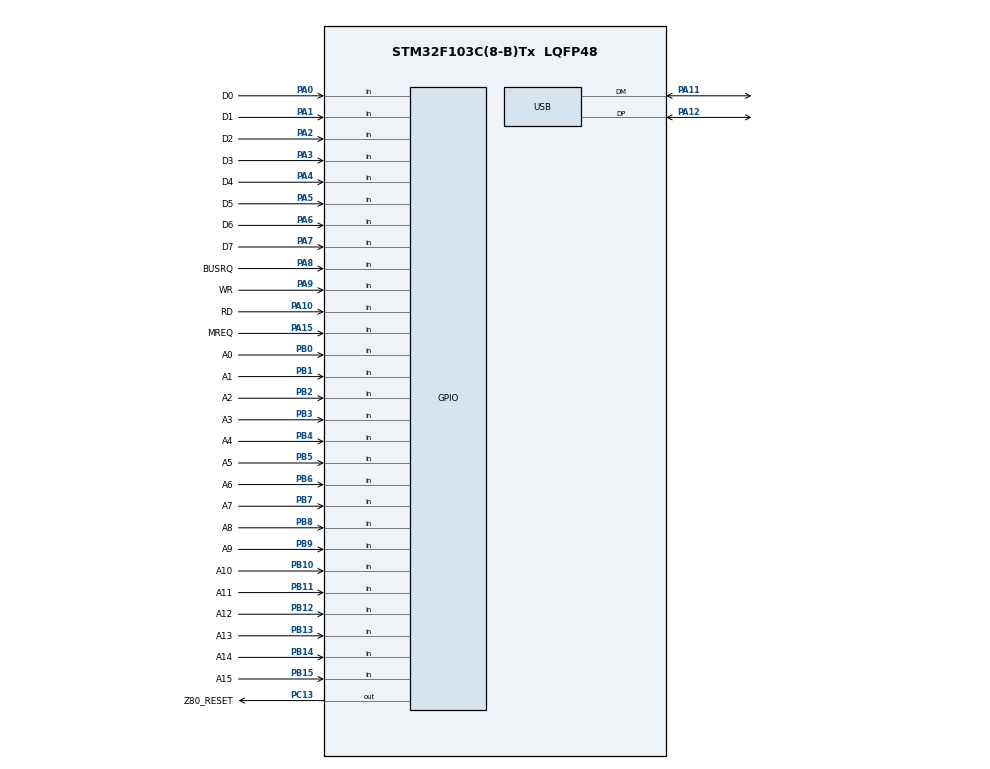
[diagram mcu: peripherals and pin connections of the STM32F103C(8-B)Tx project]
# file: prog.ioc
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Mcu.Family=STM32F1
Mcu.Name=STM32F103C(8-B)Tx
Mcu.Package=LQFP48
NVIC.PriorityGroup=NVIC_PRIORITYGROUP_4
NVIC.USB_LP_CAN1_RX0_IRQn=true\:0\:0\:false\:false\:true\:false\:true\:true
PA0-WKUP.GPIO_Label=D0
PA0-WKUP.Signal=GPIO_Input
PA1.GPIO_Label=D1
PA1.Signal=GPIO_Input
PA10.GPIO_Label=RD
PA10.Signal=GPIO_Input
PA11.Mode=Device
PA11.Signal=USB_DM
PA12.Mode=Device
PA12.Signal=USB_DP
PA13.Mode=Serial_Wire
PA13.Signal=SYS_JTMS-SWDIO
PA14.Mode=Serial_Wire
PA14.Signal=SYS_JTCK-SWCLK
PA15.GPIO_Label=MREQ
PA15.Signal=GPIO_Input
PA2.GPIO_Label=D2
PA2.Signal=GPIO_Input
PA3.GPIO_Label=D3
PA3.Signal=GPIO_Input
PA4.GPIO_Label=D4
PA4.Signal=GPIO_Input
PA5.GPIO_Label=D5
PA5.Signal=GPIO_Input
PA6.GPIO_Label=D6
PA6.Signal=GPIO_Input
PA7.GPIO_Label=D7
PA7.Signal=GPIO_Input
PA8.GPIO_Label=BUSRQ
PA8.Signal=GPIO_Input
PA9.GPIO_Label=WR
PA9.Signal=GPIO_Input
PB0.GPIO_Label=A0
PB0.Signal=GPIO_Input
PB1.GPIO_Label=A1
PB1.Signal=GPIO_Input
PB10.GPIO_Label=A10
PB10.Signal=GPIO_Input
PB11.GPIO_Label=A11
PB11.Signal=GPIO_Input
PB12.GPIO_Label=A12
PB12.Signal=GPIO_Input
PB13.GPIO_Label=A13
PB13.Signal=GPIO_Input
PB14.GPIO_Label=A14
PB14.Signal=GPIO_Input
PB15.GPIO_Label=A15
PB15.Signal=GPIO_Input
PB2.GPIO_Label=A2
PB2.Signal=GPIO_Input
PB3.GPIO_Label=A3
PB3.Signal=GPIO_Input
PB4.GPIO_Label=A4
PB4.Signal=GPIO_Input
PB5.GPIO_Label=A5
PB5.Signal=GPIO_Input
PB6.GPIO_Label=A6
PB6.Signal=GPIO_Input
PB7.GPIO_Label=A7
PB7.Signal=GPIO_Input
PB8.GPIO_Label=A8
PB8.Signal=GPIO_Input
PB9.GPIO_Label=A9
PB9.Signal=GPIO_Input
PC13-TAMPER-RTC.GPIO_Label=Z80_RESET
PC13-TAMPER-RTC.GPIO_ModeDefaultOutputPP=GPIO_MODE_OUTPUT_PP
PC13-TAMPER-RTC.GPIO_PuPd=GPIO_NOPULL
PC13-TAMPER-RTC.PinState=GPIO_PIN_RESET
PC13-TAMPER-RTC.Signal=GPIO_Output
PD0-OSC_IN.Mode=HSE-External-Oscillator
PD0-OSC_IN.Signal=RCC_OSC_IN
PD1-OSC_OUT.Mode=HSE-External-Oscillator
PD1-OSC_OUT.Signal=RCC_OSC_OUT
ProjectManager.HeapSize=0x400
ProjectManager.StackSize=0x800
ProjectManager.TargetToolchain=Makefile
RCC.AHBFreq_Value=72000000
RCC.APB1CLKDivider=RCC_HCLK_DIV2
RCC.APB1Freq_Value=36000000
RCC.APB1TimFreq_Value=72000000
RCC.APB2Freq_Value=72000000
RCC.APB2TimFreq_Value=72000000
RCC.HCLKFreq_Value=72000000
RCC.PLLMUL=RCC_PLL_MUL9
RCC.PLLSourceVirtual=RCC_PLLSOURCE_HSE
RCC.SYSCLKFreq_VALUE=72000000
RCC.SYSCLKSource=RCC_SYSCLKSOURCE_PLLCLK
RCC.USBFreq_Value=48000000
RCC.USBPrescaler=RCC_USBCLKSOURCE_PLL_DIV1_5
USB_DEVICE.CLASS_NAME_FS=MSC
USB_DEVICE.MANUFACTURER_STRING=Z80 RAW Memory
USB_DEVICE.VirtualMode=Msc
USB_DEVICE.VirtualModeFS=Msc_FS
VP_USB_DEVICE_VS_USB_DEVICE_MSC_FS.Mode=MSC_FS
board=custom

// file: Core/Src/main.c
/* USER CODE BEGIN Header */
/**
  ******************************************************************************
  * @file           : main.c
  * @brief          : Main program body
  ******************************************************************************
  * @attention
  *
  * Copyright (c) 2023 STMicroelectronics.
  * All rights reserved.
  *
  * This software is licensed under terms that can be found in the LICENSE file
  * in the root directory of this software component.
  * If no LICENSE file comes with this software, it is provided AS-IS.
  *
  ******************************************************************************
  */
/* USER CODE END Header */
#include "main.h"
#include "usb_device.h"
#include "gpio.h"

/* USER CODE BEGIN Includes */
#include <stdio.h>
#include "retarget.h"
#include "z80ramm.h"
/* USER CODE END Includes */

/* USER CODE BEGIN PV */
uint8_t rx1[2];
uint8_t control_cmd;
void control(uint8_t cmd);
/* USER CODE END PV */

void SystemClock_Config(void);

int main(void)
{

  /* MCU Configuration--------------------------------------------------------*/

  /* Reset of all peripherals, Initializes the Flash interface and the Systick. */
  HAL_Init();

  /* Configure the system clock */
  SystemClock_Config();

  /* Initialize all configured peripherals */
  MX_GPIO_Init();
  MX_USB_DEVICE_Init();
  /* USER CODE BEGIN 2 */
  HAL_Delay(10);
  //HAL_UART_Receive_DMA(&huart1, (uint8_t*)rx1, sizeof(rx1));
  printf("Prog start\r\n");
  /* USER CODE END 2 */

  /* Infinite loop */
  /* USER CODE BEGIN WHILE */
  while (1)
  {
    for(int n = 0; n<655350; n++) asm("NOP");
    if(control_cmd != 0) control(control_cmd);
    printf_flush();
    /* USER CODE END WHILE */

  }
}

void SystemClock_Config(void)
{
  LL_FLASH_SetLatency(LL_FLASH_LATENCY_2);
  while(LL_FLASH_GetLatency()!= LL_FLASH_LATENCY_2)
  {
  }
  LL_RCC_HSE_Enable();

   /* Wait till HSE is ready */
  while(LL_RCC_HSE_IsReady() != 1)
  {

  }
  LL_RCC_PLL_ConfigDomain_SYS(LL_RCC_PLLSOURCE_HSE_DIV_1, LL_RCC_PLL_MUL_9);
  LL_RCC_PLL_Enable();

   /* Wait till PLL is ready */
  while(LL_RCC_PLL_IsReady() != 1)
  {

  }
  LL_RCC_SetAHBPrescaler(LL_RCC_SYSCLK_DIV_1);
  LL_RCC_SetAPB1Prescaler(LL_RCC_APB1_DIV_2);
  LL_RCC_SetAPB2Prescaler(LL_RCC_APB2_DIV_1);
  LL_RCC_SetSysClkSource(LL_RCC_SYS_CLKSOURCE_PLL);

   /* Wait till System clock is ready */
  while(LL_RCC_GetSysClkSource() != LL_RCC_SYS_CLKSOURCE_STATUS_PLL)
  {

  }
  LL_SetSystemCoreClock(72000000);

   /* Update the time base */
  if (HAL_InitTick (TICK_INT_PRIORITY) != HAL_OK)
  {
    Error_Handler();
  }
  LL_RCC_SetUSBClockSource(LL_RCC_USB_CLKSOURCE_PLL_DIV_1_5);
}

/* USER CODE BEGIN 4 */
uint8_t block_read_buf[512] = {0};
void case_help(void);
void case_help(void) {
  printf("\
  h - tsis help message\r\n\
  i - init pins to work, z80 stopped\r\n\
  d - deinit pins to work z80 run\r\n\
  r - read\r\n\
  w - write\r\n\
  t - ram test\r\n\
  e - ram erase\r\n\
  b - block read\r\n\
  z - z80_reset\r\n\
  \r\n");
}
void control(uint8_t cmd) {

  // control cmd
  switch (cmd) {
    case 'i': z80ramm_suspend_cpu(); break;
    case 'd': z80ramm_resume_cpu(); break;
    case 'r': mem_read_test(); break;
    case 'w': mem_write_test(); break;
    case 't': z80ramm_test(); break;
    case 'e': mem_erase_test(); break;
    case 'b': z80ram_block_read(block_read_buf, 0, 32U) ; break;
    case 'z': z80_reset(); break;

    default: printf("Unknown cmd\r\n"); break;
  }
  control_cmd = 0;
}
/*
void (*uart_rx_callback)(uint8_t) = control;
void HAL_UART_RxCpltCallback(UART_HandleTypeDef *huart)
{
  if (huart->Instance == USART1) {
    uart_rx_callback(rx1[1]);
  }
}

void HAL_UART_RxHalfCpltCallback(UART_HandleTypeDef *huart)
{
  if (huart->Instance == USART1) {
    uart_rx_callback(rx1[0]);
  }
}
*/
/* USER CODE END 4 */

void Error_Handler(void)
{
  __disable_irq();
  while (1)
  {
  }
}
